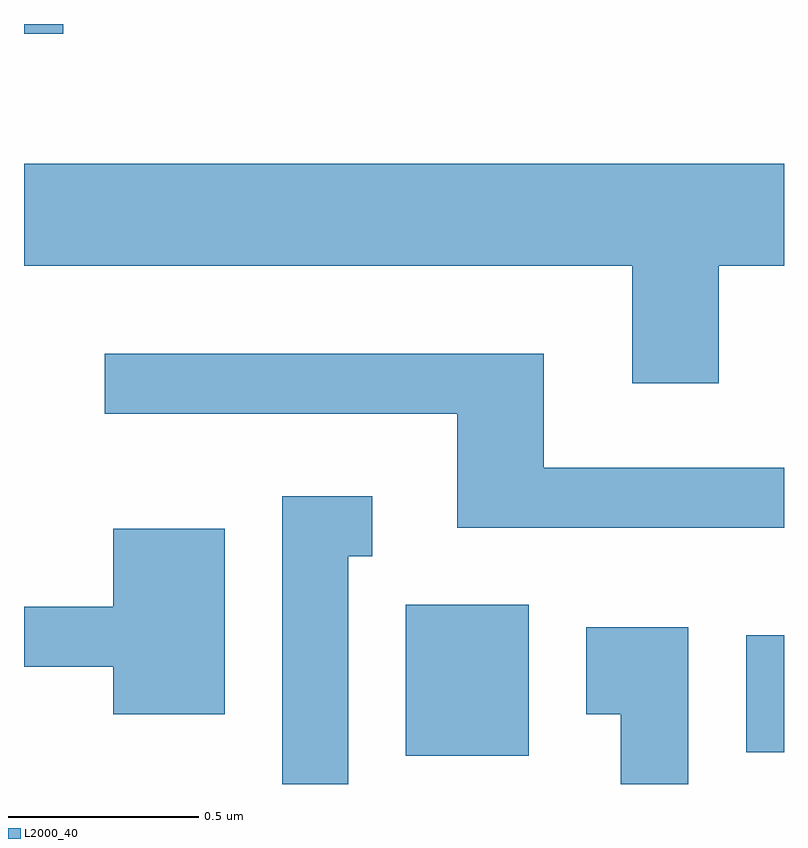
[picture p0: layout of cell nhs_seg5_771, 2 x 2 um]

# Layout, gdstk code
import gdstk
lib = gdstk.Library(unit=1e-6, precision=1e-09)
def R(c, l, rs):  # rectangles x0, y0, x1, y1
    for r in rs: c.add(gdstk.rectangle(r[:2], r[2:], *l))
def P(c, l, *ps):  # polygons
    for p in ps: c.add(gdstk.Polygon(p, *l))
L2000_40 = (2000, 40)

nhs_seg5_771 = lib.new_cell('nhs_seg5_771')
R(nhs_seg5_771, L2000_40, [(191.616,1482.146,191.939,1482.544), (192.511,1482.156,192.611,1482.464), (190.611,1484.046,190.714,1484.072)])
P(nhs_seg5_771, L2000_40, [(192.439,1483.436),(192.611,1483.436),(192.611,1483.704),(190.611,1483.704),(190.611,1483.436),(192.211,1483.436),(192.211,1483.126),(192.439,1483.126)],
  [(192.611,1482.904),(191.979,1482.904),(191.979,1483.204),(190.823,1483.204),(190.823,1483.046),(191.751,1483.046),(191.751,1482.746),(192.611,1482.746)],
  [(191.464,1482.671),(191.528,1482.671),(191.528,1482.829),(191.291,1482.829),(191.291,1482.072),(191.464,1482.072)],
  [(191.139,1482.744),(190.846,1482.744),(190.846,1482.539),(190.611,1482.539),(190.611,1482.381),(190.846,1482.381),(190.846,1482.256),(191.139,1482.256)],
  [(192.359,1482.484),(192.091,1482.484),(192.091,1482.256),(192.181,1482.256),(192.181,1482.072),(192.359,1482.072)])

lib.write_gds('nhs_seg5_771.gds')
